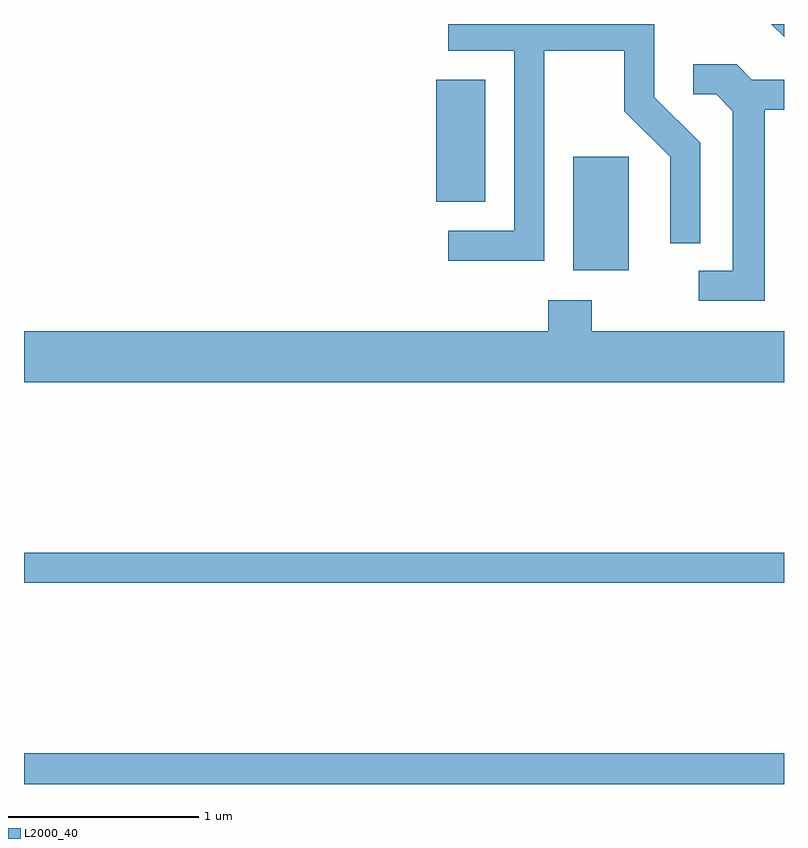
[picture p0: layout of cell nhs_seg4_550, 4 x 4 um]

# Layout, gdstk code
import gdstk
lib = gdstk.Library(unit=1e-6, precision=1e-09)
def R(c, l, rs):  # rectangles x0, y0, x1, y1
    for r in rs: c.add(gdstk.rectangle(r[:2], r[2:], *l))
def P(c, l, *ps):  # polygons
    for p in ps: c.add(gdstk.Polygon(p, *l))
L2000_40 = (2000, 40)

nhs_seg4_550 = lib.new_cell('nhs_seg4_550')
R(nhs_seg4_550, L2000_40, [(201.611,1265.982,205.611,1266.144), (201.611,1267.041,205.611,1267.199), (204.501,1268.686,204.794,1269.284), (203.781,1269.046,204.039,1269.689)])
P(nhs_seg4_550, L2000_40, [(204.349,1269.841),(204.771,1269.841),(204.771,1269.524),(205.011,1269.284),(205.011,1268.828),(205.169,1268.828),(205.169,1269.357),(204.929,1269.597),(204.929,1269.982),(203.843,1269.982),(203.843,1269.841),(204.191,1269.841),(204.191,1268.894),(203.843,1268.894),(203.843,1268.736),(204.349,1268.736)],
  [(205.611,1269.982),(205.543,1269.982),(205.611,1269.914)],
  [(205.509,1269.531),(205.611,1269.531),(205.611,1269.689),(205.442,1269.689),(205.362,1269.769),(205.133,1269.769),(205.133,1269.611),(205.254,1269.611),(205.341,1269.524),(205.341,1268.684),(205.163,1268.684),(205.163,1268.526),(205.509,1268.526)],
  [(205.611,1268.364),(204.599,1268.364),(204.599,1268.529),(204.371,1268.529),(204.371,1268.364),(201.611,1268.364),(201.611,1268.096),(205.611,1268.096)])

lib.write_gds('nhs_seg4_550.gds')
